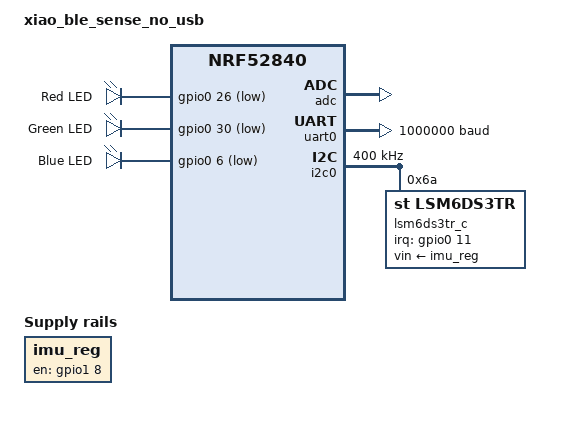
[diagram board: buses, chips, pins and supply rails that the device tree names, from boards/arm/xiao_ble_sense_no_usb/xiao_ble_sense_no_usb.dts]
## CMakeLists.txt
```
# SPDX-License-Identifier: Apache-2.0

cmake_minimum_required(VERSION 3.20.0)
find_package(Zephyr REQUIRED HINTS $ENV{ZEPHYR_BASE})

project(cycling_power_meter)


add_subdirectory(drivers)
zephyr_include_directories(drivers)


target_sources(app PRIVATE
  src/main.c
  src/cps.c
  src/calibration_settings.c
  src/custom_ble_service.c
  src/battery_meas.c
)
```

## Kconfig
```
rsource "drivers/Kconfig"

menu "Zephyr Kernel"
source "Kconfig.zephyr"
endmenu
```

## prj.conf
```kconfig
# Increased stack due to settings API usage

# General Peripheral Configuration
CONFIG_LED=y
# Logging Settings
CONFIG_LOG=y
CONFIG_CONSOLE=n
CONFIG_USE_SEGGER_RTT=y
CONFIG_LOG_BACKEND_RTT=y
CONFIG_LOG_DEFAULT_LEVEL=3
CONFIG_CBPRINTF_FP_SUPPORT=y
CONFIG_LOG_BUFFER_SIZE=8192
CONFIG_SEGGER_RTT_BUFFER_SIZE_UP=8192
CONFIG_LOG_BLOCK_IN_THREAD=n
CONFIG_SERIAL=n
CONFIG_SEGGER_RTT_PRINTF_BUFFER_SIZE=8192
CONFIG_LOG_BACKEND_UART=n
# console output on RTT
CONFIG_RTT_CONSOLE=n
CONFIG_LOG_MODE_DEFERRED=y
# CONFIG_DEBUG=y
# CONFIG_SHELL=y
# CONFIG_SHELL_BACKENDS=y
# CONFIG_SHELL_BACKEND_RTT=y
# CONFIG_I2C_SHELL=y
# CONFIG_I2C_LOG_LEVEL_DBG=y
# 
CONFIG_FPU=y
CONFIG_PM=y
CONFIG_PM_DEVICE=y
CONFIG_SENSOR=y
CONFIG_I2C=y
CONFIG_GPIO=y
CONFIG_HX711=y
CONFIG_REBOOT=y
CONFIG_REGULATOR=y
CONFIG_ADC=y
CONFIG_ADC_ASYNC=y
CONFIG_ADC_NRFX_SAADC=y

CONFIG_CLOCK_CONTROL_NRF_K32SRC_RC=y
CONFIG_CLOCK_CONTROL_NRF_K32SRC_XTAL=y

CONFIG_LSM6DS3TR=y
CONFIG_LSM6DS3TR_ACCEL_FS=16
CONFIG_LSM6DS3TR_GYRO_FS=2000
CONFIG_LSM6DS3TR_ACCEL_ODR=4
CONFIG_LSM6DS3TR_GYRO_ODR=4
CONFIG_LSM6DS3TR_TRIGGER_GLOBAL_THREAD=y

# DSP Library
CONFIG_CMSIS_DSP=y


# Settings/Flash configuration
CONFIG_SETTINGS=y
CONFIG_FLASH=y
CONFIG_FLASH_PAGE_LAYOUT=y
CONFIG_FLASH_MAP=y
CONFIG_STREAM_FLASH=y
CONFIG_NVS=y
CONFIG_SETTINGS_NVS=y


# Bluetooth Settings
# TODO: timer intervals
CONFIG_BT=y
CONFIG_BT_PERIPHERAL=y
CONFIG_BT_DIS=y
CONFIG_BT_DIS_PNP=n
CONFIG_BT_BAS=y
CONFIG_BT_DEVICE_NAME="PowerMeter - 1More3Labs"
CONFIG_BT_DIS_MANUF="1More3Labs"
CONFIG_BT_DIS_MODEL="LePower"
CONFIG_BT_DIS_HW_REV=y
CONFIG_BT_DIS_HW_REV_STR="0"
CONFIG_BT_DIS_FW_REV=y
CONFIG_BT_DIS_FW_REV_STR="0.0.0"
CONFIG_BT_DEVICE_APPEARANCE=1156
CONFIG_BT_DEVICE_NAME_DYNAMIC=n
# CONFIG_BT_NUS=y
CONFIG_BT_MAX_CONN=2
# CONFIG_BT_PERIPHERAL_PREF_MIN_INT=8
# CONFIG_BT_PERIPHERAL_PREF_MAX_INT=1/2
CONFIG_BT_GAP_AUTO_UPDATE_CONN_PARAMS=y

# DFU
CONFIG_SECURE_BOOT=y
CONFIG_ZCBOR=y
CONFIG_MCUMGR=y
CONFIG_BOOTLOADER_MCUBOOT=y
CONFIG_BT_SMP=y
CONFIG_MCUMGR_TRANSPORT_BT=y
CONFIG_MCUMGR_TRANSPORT_BT_AUTHEN=n
CONFIG_BT_L2CAP_TX_MTU=252
CONFIG_BT_BUF_ACL_RX_SIZE=256
CONFIG_SYSTEM_WORKQUEUE_STACK_SIZE=4096
CONFIG_MCUMGR_GRP_OS=y
CONFIG_IMG_MANAGER=y
CONFIG_MCUMGR_TRANSPORT_BT_REASSEMBLY=y
CONFIG_MCUMGR_GRP_IMG=y


# Required by the `taskstat` command.
CONFIG_THREAD_MONITOR=y
CONFIG_THREAD_RUNTIME_STATS=y
CONFIG_THREAD_ANALYZER=y
CONFIG_THREAD_ANALYZER_AUTO=y
CONFIG_THREAD_NAME=y
CONFIG_THREAD_ANALYZER_USE_PRINTK=y
# Enable statistics and statistic names.
CONFIG_STATS=y
CONFIG_STATS_NAMES=y
```

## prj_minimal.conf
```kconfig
# Increased stack due to settings API usage

# General Peripheral Configuration
CONFIG_LED=y

# Logging Settings
CONFIG_CONSOLE=n
CONFIG_UART_CONSOLE=n
CONFIG_STDOUT_CONSOLE=n
CONFIG_PRINTK=n
CONFIG_EARLY_CONSOLE=n
CONFIG_LOG=n
CONFIG_USE_SEGGER_RTT=n
CONFIG_RTT_CONSOLE=n
CONFIG_DEBUG=n

# Build
CONFIG_SIZE_OPTIMIZATIONS=y


CONFIG_FPU=y
CONFIG_PM=y
CONFIG_PM_DEVICE=y
CONFIG_SENSOR=y
CONFIG_I2C=y
CONFIG_GPIO=y
CONFIG_HX711=y
CONFIG_REBOOT=y
CONFIG_REGULATOR=y
CONFIG_ADC=y
CONFIG_ADC_ASYNC=y
CONFIG_ADC_NRFX_SAADC=y
# Disable unused peripherals
CONFIG_SPI=n
CONFIG_SERIAL=n
CONFIG_WATCHDOG=n
CONFIG_I2S=n

CONFIG_CLOCK_CONTROL_NRF_K32SRC_RC=y
CONFIG_CLOCK_CONTROL_NRF_K32SRC_XTAL=y

CONFIG_LSM6DS3TR=y
CONFIG_LSM6DS3TR_ACCEL_FS=16
CONFIG_LSM6DS3TR_GYRO_FS=2000
CONFIG_LSM6DS3TR_ACCEL_ODR=4
CONFIG_LSM6DS3TR_GYRO_ODR=4
CONFIG_LSM6DS3TR_TRIGGER_GLOBAL_THREAD=y


# Boot
CONFIG_BOOT_BANNER=n
CONFIG_BOOT_DELAY=0

# Disable features not needed
CONFIG_TIMESLICING=n
CONFIG_MINIMAL_LIBC_MALLOC=n
CONFIG_ASSERT=n

# DSP Library
CONFIG_CMSIS_DSP=y


# Settings/Flash configuration
CONFIG_SETTINGS=y
CONFIG_FLASH=y
CONFIG_FLASH_PAGE_LAYOUT=y
CONFIG_FLASH_MAP=y
CONFIG_STREAM_FLASH=y
CONFIG_NVS=y
CONFIG_SETTINGS_NVS=y


# Bluetooth Settings
# TODO: timer intervals
# Disable Bluetooth features not needed
CONFIG_BT_DEBUG_NONE=y
CONFIG_BT_DEBUG_LOG=n
CONFIG_BT_ASSERT=n
CONFIG_BT_GATT_CACHING=n
CONFIG_BT_HCI_VS_EXT=n

CONFIG_BT=y
CONFIG_BT_PERIPHERAL=y
CONFIG_BT_DIS=y
CONFIG_BT_DIS_PNP=n
CONFIG_BT_BAS=y
CONFIG_BT_DEVICE_NAME="PowerMeter - 1More3Labs"
CONFIG_BT_DIS_MANUF="1More3Labs"
CONFIG_BT_DIS_MODEL="LePower"
CONFIG_BT_DIS_HW_REV=y
CONFIG_BT_DIS_HW_REV_STR="0"
CONFIG_BT_DIS_FW_REV=y
CONFIG_BT_DIS_FW_REV_STR="0.0.0"
CONFIG_BT_DEVICE_APPEARANCE=1156
CONFIG_BT_DEVICE_NAME_DYNAMIC=n
CONFIG_BT_MAX_CONN=2

CONFIG_BT_GAP_AUTO_UPDATE_CONN_PARAMS=y

# DFU
CONFIG_SECURE_BOOT=y
CONFIG_ZCBOR=y
CONFIG_MCUMGR=y
CONFIG_BOOTLOADER_MCUBOOT=y
CONFIG_BT_SMP=y
CONFIG_MCUMGR_TRANSPORT_BT=y
CONFIG_MCUMGR_TRANSPORT_BT_AUTHEN=n
CONFIG_BT_L2CAP_TX_MTU=252
CONFIG_BT_BUF_ACL_RX_SIZE=256
CONFIG_SYSTEM_WORKQUEUE_STACK_SIZE=4096
CONFIG_MCUMGR_GRP_OS=y
CONFIG_IMG_MANAGER=y
CONFIG_MCUMGR_TRANSPORT_BT_REASSEMBLY=y
CONFIG_MCUMGR_GRP_IMG=y


# Thread analyze:
#  BT CTLR ECDH        : STACK: unused 144 usage 696 / 840 (82 %); CPU: 0 %
#  BT RX               : STACK: unused 944 usage 528 / 1472 (35 %); CPU: 0 %
#  BT TX               : STACK: unused 976 usage 560 / 1536 (36 %); CPU: 0 %
#  thread_analyzer     : STACK: unused 504 usage 520 / 1024 (50 %); CPU: 0 %
#  mcumgr smp          : STACK: unused 1856 usage 192 / 2048 (9 %); CPU: 0 %
#  sysworkq            : STACK: unused 3536 usage 496 / 4032 (12 %); CPU: 0 %
#  MPSL Work           : STACK: unused 472 usage 488 / 960 (50 %); CPU: 0 %
#  idle                : STACK: unused 220 usage 100 / 320 (31 %); CPU: 98 %
#  main                : STACK: unused 1328 usage 656 / 1984 (33 %); CPU: 0 %
#  ISR0                : STACK: unused 856 usage 1256 / 2112 (59 %)
CONFIG_BT_RX_STACK_SIZE=1024
CONFIG_BT_HCI_TX_STACK_SIZE_WITH_PROMPT=y
CONFIG_BT_HCI_TX_STACK_SIZE=1024
CONFIG_MPSL_WORK_STACK_SIZE=768
CONFIG_MAIN_STACK_SIZE=768
CONFIG_IDLE_STACK_SIZE=256
CONFIG_ISR_STACK_SIZE=1536


# In order to correctly tune the stack sizes for the threads the following
# Configurations can enabled to print the current use:
# CONFIG_THREAD_NAME=y
# CONFIG_THREAD_ANALYZER=y
# CONFIG_THREAD_ANALYZER_AUTO=y
# CONFIG_THREAD_ANALYZER_RUN_UNLOCKED=y
# CONFIG_THREAD_ANALYZER_USE_PRINTK=y
# CONFIG_CONSOLE=y
# CONFIG_RTT_CONSOLE=y
# CONFIG_USE_SEGGER_RTT=y
# CONFIG_PRINTK=y
# CONFIG_LOG=y
# CONFIG_LOG_BACKEND_RTT=y
```

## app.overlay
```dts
/{
	aliases {
		hx711-sensor = &hx711;
	};


	hx711: hx711 {
		compatible = "avia,hx711";
		status     = "okay";
		dout-gpios = <&gpio0 3 (GPIO_ACTIVE_HIGH | GPIO_PULL_UP)>;
		sck-gpios  = <&gpio0 2 (GPIO_ACTIVE_HIGH | GPIO_PULL_UP)>;
		rate-hz    = <0>;
		gain       = <1>;
	};


   vbatt {
      compatible = "voltage-divider";
      io-channels = <&adc 7>;
      output-ohms = <510000>;
      full-ohms   = <(1000000 + 510000)>;
      power-gpios = <&gpio0 14 (GPIO_ACTIVE_LOW | GPIO_OPEN_DRAIN)>;
   };

};
```

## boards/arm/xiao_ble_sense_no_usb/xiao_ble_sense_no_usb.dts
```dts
/dts-v1/;
#include <nordic/nrf52840_qiaa.dtsi>
#include "xiao_ble_sense_no_usb.dtsi"

#include <zephyr/dt-bindings/i2c/i2c.h>
#include <zephyr/dt-bindings/gpio/nordic-nrf-gpio.h>

/ {
	model = "xiao_ble_sense_no_usb";
	compatible = "seed,xiao-ble-sense-no-usb";

	chosen {
		zephyr,console = &uart0;
		zephyr,shell-uart = &uart0;
		zephyr,uart-mcumgr = &uart0;
		zephyr,bt-mon-uart = &uart0;
		zephyr,bt-c2h-uart = &uart0;
		zephyr,sram = &sram0;
		zephyr,flash = &flash0;
		zephyr,code-partition = &slot0_partition;
		zephyr,ieee802154 = &ieee802154;

	};

	leds {
		compatible = "gpio-leds";
		led0: led_0 {
			gpios = <&gpio0 26 GPIO_ACTIVE_LOW>;
			label = "Red LED";
		};
		led1: led_1 {
			gpios = <&gpio0 30 GPIO_ACTIVE_LOW>;
			label = "Green LED";
		};
		led2: led_2 {
			gpios = <&gpio0 6 GPIO_ACTIVE_LOW>;
			label = "Blue LED";
		};
	};

	// pwmleds {
	// 	compatible = "pwm-leds";
	// 	pwm_led0: pwm_led_0 {
	// 		pwms = <&pwm0 0 PWM_MSEC(20) PWM_POLARITY_INVERTED>;
	// 	};
	// };

	/* These aliases are provided for compatibility with samples */
	aliases {
		led0 = &led0;
		led1 = &led1;
		led2 = &led2;
		// pwm-led0 = &pwm_led0;
		bootloader-led0 = &led0;
		mcuboot-led0 = &led0;
		watchdog0 = &wdt0;
		spi-flash0 = &p25q16h;
	};

	imu_reg: lsm6ds3tr-c-en {
		compatible = "regulator-fixed-sync", "regulator-fixed";
		enable-gpios = <&gpio1 8 (NRF_GPIO_DRIVE_S0H1 | GPIO_ACTIVE_HIGH)>;
		regulator-name = "lsm6ds3tr-c-en";
		regulator-boot-on;
		regulator-always-on;
		startup-delay-us = <3000>;
	};
};

&adc {
	status = "okay";
};

&gpiote {
	status = "okay";
};

&gpio0 {
	status = "okay";
};

&gpio1 {
	status = "okay";
};

&uart0 {
	compatible = "nordic,nrf-uarte";
	status = "okay";
	current-speed = <1000000>;
	pinctrl-0 = <&uart0_default>;
	pinctrl-1 = <&uart0_sleep>;
	pinctrl-names = "default", "sleep";
};

&i2c1 {
	compatible = "nordic,nrf-twi";
	/* Cannot be used together with spi1. */
	status = "disabled";
	pinctrl-0 = <&i2c1_default>;
	pinctrl-1 = <&i2c1_sleep>;
	pinctrl-names = "default", "sleep";
};

&i2c0 {
	compatible = "nordic,nrf-twim";
	/* Cannot be used together with spi0. */
	status = "okay";
	pinctrl-0 = <&i2c0_default>;
	pinctrl-1 = <&i2c0_sleep>;
	pinctrl-names = "default", "sleep";
	clock-frequency = <I2C_BITRATE_FAST>;

	lsm6ds3tr_c: lsm6ds3tr-c@6a {
		status = "okay";
		compatible = "st,lsm6ds3tr";
		reg = <0x6a>;
		irq-gpios = <&gpio0 11 GPIO_ACTIVE_HIGH>;
		vin-supply = <&imu_reg>;
	};
};

// &pwm0 {
// 	status = "okay";
// 	pinctrl-0 = <&pwm0_default>;
// 	pinctrl-1 = <&pwm0_sleep>;
// 	pinctrl-names = "default", "sleep";
// };

// &spi2 {
// 	compatible = "nordic,nrf-spi";
// 	status = "okay";
// 	pinctrl-0 = <&spi2_default>;
// 	pinctrl-1 = <&spi2_sleep>;
// 	pinctrl-names = "default", "sleep";
// };

&qspi {
	status = "disabled";
	pinctrl-0 = <&qspi_default>;
	pinctrl-1 = <&qspi_sleep>;
	pinctrl-names = "default", "sleep";
	p25q16h: p25q16h@0 {
		compatible = "nordic,qspi-nor";
		reg = <0>;
		sck-frequency = <104000000>;
		quad-enable-requirements = "S2B1v1";
		jedec-id = [ 85 60 15  ];
		sfdp-bfp = [ e5 20 f1 ff ff ff ff 00 44 eb 08 6b 08 3b 80 bb
					 ee ff ff ff ff ff 00 ff ff ff 00 ff 0c 20 0f 52
					 10 d8 08 81  
		];
		size = <16777216>;
		has-dpd;
		t-enter-dpd = <3000>;
		t-exit-dpd = <8000>;
	};
};

&ieee802154 {
	status = "disabled";
};

&flash0 {
	partitions {
		compatible = "fixed-partitions";
		#address-cells = <1>;
		#size-cells = <1>;

		boot_partition: partition@0 {
			label = "mcuboot";
			reg = <0x00000000 0x0000C000>;
		};
		slot0_partition: partition@c000 {
			label = "image-0";
			reg = <0x0000C000 0x00076000>;
		};
		slot1_partition: partition@82000 {
			label = "image-1";
			reg = <0x00082000 0x00076000>;
		};


		settings_partition: settings_partition@f8000 {
			label = "storage";
			reg = <0x000f8000 0x00008000>;
		};
		
	};
};
```

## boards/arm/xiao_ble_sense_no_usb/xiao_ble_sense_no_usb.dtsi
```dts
#include <zephyr/dt-bindings/gpio/nordic-nrf-gpio.h>

&pinctrl {
	uart0_default: uart0_default {
		group1 {
			psels = <NRF_PSEL(UART_TX, 1, 11)>;
		};
		group2 {
			psels = <NRF_PSEL(UART_RX, 1, 12)>;
			bias-pull-up;
		};
	};

	uart0_sleep: uart0_sleep {
		group1 {
			psels = <NRF_PSEL(UART_TX, 1, 11)>,
					<NRF_PSEL(UART_RX, 1, 12)>;
			low-power-enable;
		};
	};

	i2c0_default: i2c0_default {
		group1 {
			psels = <NRF_PSEL(TWIM_SDA, 0, 7)>,
					<NRF_PSEL(TWIM_SCL, 0, 27)>;
		};
	};

	i2c0_sleep: i2c0_sleep {
		group1 {
			psels = <NRF_PSEL(TWIM_SDA, 0, 7)>,
					<NRF_PSEL(TWIM_SCL, 0, 27)>;
			low-power-enable;
		};
	};

	i2c1_default: i2c1_default {
		group1 {
			psels = <NRF_PSEL(TWIM_SDA, 0, 4)>,
					<NRF_PSEL(TWIM_SCL, 0, 5)>;
		};
	};

	i2c1_sleep: i2c1_sleep {
		group1 {
			psels = <NRF_PSEL(TWIM_SDA, 0, 4)>,
					<NRF_PSEL(TWIM_SCL, 0, 5)>;
			low-power-enable;
		};
	};

	// pwm0_default: pwm0_default {
		//     group1 {
			//         psels = <NRF_PSEL(PWM_OUT0, 0, 17)>;
			//         nordic,invert;
		//     };
	// };

	// pwm0_sleep: pwm0_sleep {
		//     group1 {
			//         psels = <NRF_PSEL(PWM_OUT0, 0, 17)>;
			//         low-power-enable;
		//     };
	// };

	spi2_default: spi2_default {
		group1 {
			psels = <NRF_PSEL(SPIM_SCK, 1, 13)>,
			        <NRF_PSEL(SPIM_MOSI, 1, 15)>,
			        <NRF_PSEL(SPIM_MISO, 1, 14)>;
		};
	};

	spi2_sleep: spi2_sleep {
		group1 {
			psels = <NRF_PSEL(SPIM_SCK, 1, 13)>,
			        <NRF_PSEL(SPIM_MOSI, 1, 15)>,
			        <NRF_PSEL(SPIM_MISO, 1, 14)>;
			low-power-enable;
		};
	};

	spi3_default: spi3_default {
		group1 {
			psels = <NRF_PSEL(SPIM_SCK, 0, 21)>,
			        <NRF_PSEL(SPIM_MOSI, 0, 20)>,
			        <NRF_PSEL(SPIM_MISO, 0, 24)>;
		};
	};

	spi3_sleep: spi3_sleep {
		group1 {
			psels = <NRF_PSEL(SPIM_SCK, 0, 21)>,
			        <NRF_PSEL(SPIM_MOSI, 0, 20)>,
			        <NRF_PSEL(SPIM_MISO, 0, 24)>;
			low-power-enable;
		};
	};

	qspi_default: qspi_default {
		group1 {
			psels = <NRF_PSEL(QSPI_SCK, 0, 21)>,
			        <NRF_PSEL(QSPI_IO0, 0, 20)>,
			        <NRF_PSEL(QSPI_IO1, 0, 24)>,
			        <NRF_PSEL(QSPI_IO2, 0, 22)>,
			        <NRF_PSEL(QSPI_IO3, 0, 23)>,
			        <NRF_PSEL(QSPI_CSN, 0, 25)>;
		};
	};

	qspi_sleep: qspi_sleep {
		group1 {
			psels = <NRF_PSEL(QSPI_SCK, 0, 21)>,
			        <NRF_PSEL(QSPI_IO0, 0, 20)>,
			        <NRF_PSEL(QSPI_IO1, 0, 24)>,
			        <NRF_PSEL(QSPI_IO2, 0, 22)>,
			        <NRF_PSEL(QSPI_IO3, 0, 23)>,
			        <NRF_PSEL(QSPI_CSN, 0, 25)>;
			low-power-enable;
		};
	};
};
```

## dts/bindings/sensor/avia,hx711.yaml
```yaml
# Copyright (c) 2020 George Gkinis
# Copyright (c) 2021 Jan Gnip
# SPDX-License-Identifier: Apache-2.0

description: |
  Avia HX711 sensor

compatible: "avia,hx711"

include: base.yaml

properties:
  sample-fetch-timeout-ms:
    type: int
    required: false
    default: 700
    description: |
      Time until sample-fetch will wait before returning an error.
      Most module implementations have a wake-up time after power up of about 600ms.
      Default set to 700ms to ensure most implementations will work.
      Increase if necessary.

  gain:
    type: int
    required: false
    default: 1
    description: |
      Gain of the sensor. 1 = 128x, 2 = 32x, 3 = 64x.
      Default set to 1(128x) as this is the sensors default setting after power-up.
    enum:
      - 1
      - 2
      - 3

  rate-hz:
    type: int
    required: true
    description: |
      Sensor sample rate. 0 = 10Hz, 1 = 80Hz
      User should provide initial value depending on HW implementation.
      If CONFIG_PM_DEVICE_RUNTIME = y rate will not be higher
      than 2~3Hz due to the long wake-up time needed for HX711.
    enum:
      - 0
      - 1

  dout-gpios:
    type: phandle-array
    required: true
    description: |
      Pin on which sensor data will be read from.

  sck-gpios:
    type: phandle-array
    required: true
    description: |
      Pin on which data fetch triggering occurs.

  rate-gpios:
    type: phandle-array
    required: false
    description: |
      Pin on which sampling rate is chosen.
```

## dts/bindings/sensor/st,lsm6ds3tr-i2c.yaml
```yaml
# Copyright (c) 2017, Linaro Limited
# SPDX-License-Identifier: Apache-2.0

description: STMicroelectronics LSM6DS3TR 6-axis accelerometer and gyrometer

compatible: "st,lsm6ds3tr"

include: [sensor-device.yaml, i2c-device.yaml]

properties:
  irq-gpios:
    # This signal is active high when produced by the sensor
    type: phandle-array
```

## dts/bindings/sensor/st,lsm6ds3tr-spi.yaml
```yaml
# Copyright (c) 2018, Linaro Limited
# SPDX-License-Identifier: Apache-2.0

description: |
    STMicroelectronics LSM6DS3TR 6-axis accelerometer and gyrometer accessed
    through SPI bus

compatible: "st,lsm6ds3tr"

include: [sensor-device.yaml, spi-device.yaml]

properties:
  irq-gpios:
    # This signal is active high when produced by the sensor
    type: phandle-array
```

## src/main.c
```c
/**
 * @file main.c
 * @author Stavros Avramidis (stavros9899@gmail.com)
 * @brief 
 * @version 0.1
 * @date 2023-08-24
 * 
 * @copyright Copyright (c) 2023
 * 
 */

#include "battery_meas.h"
#include "calibration_settings.h"
#include "cps.h"
#include "custom_ble_service.h"

#include <sensor/hx711/hx711.h>

#include <errno.h>
#include <math.h>
#include <stddef.h>
#include <string.h>


// Zephyr
#include <zephyr/device.h>
#include <zephyr/irq.h>
#include <zephyr/kernel.h>
#include <zephyr/pm/device.h>
#include <zephyr/pm/pm.h>
#include <zephyr/settings/settings.h>
#include <zephyr/types.h>

#include <zephyr/bluetooth/bluetooth.h>
#include <zephyr/bluetooth/conn.h>
#include <zephyr/bluetooth/gatt.h>
#include <zephyr/bluetooth/hci.h>
#include <zephyr/bluetooth/services/bas.h>
#include <zephyr/bluetooth/uuid.h>

#include <zephyr/drivers/gpio.h>
#include <zephyr/drivers/regulator.h>
#include <zephyr/drivers/sensor.h>

#include <hal/nrf_gpio.h>
#include <hal/nrf_power.h>

// NCS
#include <bluetooth/services/nus.h>


#include <zephyr/logging/log.h>
LOG_MODULE_REGISTER(main);

#define CRANK_LENTH 0.1725
#define M_PI        3.14159265358979323846


/*
 * Devices
 */
static const struct gpio_dt_spec led_red   = GPIO_DT_SPEC_GET(DT_ALIAS(led0), gpios);
static const struct gpio_dt_spec led_green = GPIO_DT_SPEC_GET(DT_ALIAS(led1), gpios);
static const struct gpio_dt_spec led_blue  = GPIO_DT_SPEC_GET(DT_ALIAS(led2), gpios);

static const struct device* imu_dev = DEVICE_DT_GET_ONE(st_lsm6ds3tr);

static const struct device* hx711_dev = DEVICE_DT_GET_ONE(avia_hx711);

static struct sensor_trigger imu_trig = {
  .type = SENSOR_TRIG_DATA_READY,
  .chan = SENSOR_CHAN_GYRO_XYZ,
};

// Mutex for taking priority over main thread
K_MUTEX_DEFINE(main_thread_mutex);

static struct sensor_value gyro_x, gyro_y, gyro_z;
static int32_t             force;
static double              angular_velocity = 0.0;
static double              pseudo_angle     = 0.0;
static double              tangential_velocity;
static double              power;
static int16_t             power_uint;
static uint32_t            last_rev_time_ticks = 0;
static uint16_t            last_rev_time       = 0;
static uint16_t            crank_revolutions;


static const struct bt_data ad[] = {
  BT_DATA_BYTES(BT_DATA_FLAGS, (BT_LE_AD_GENERAL | BT_LE_AD_NO_BREDR)),
  BT_DATA_BYTES(BT_DATA_UUID16_ALL,
                BT_UUID_16_ENCODE(BT_UUID_CPS_VAL),
                BT_UUID_16_ENCODE(BT_UUID_BAS_VAL),
                BT_UUID_16_ENCODE(BT_UUID_DIS_VAL), ),
};


static void connected(struct bt_conn* conn, uint8_t err)
{
  if (err)
    LOG_ERR("Connection failed (err 0x%02x)\n", err);
  else
    LOG_INF("Connected\n");
}


static void disconnected(struct bt_conn* conn, uint8_t reason)
{
  LOG_INF("Disconnected (reason 0x%02x)\n", reason);
}


BT_CONN_CB_DEFINE(conn_callbacks) = {
  .connected    = connected,
  .disconnected = disconnected,
};


static void bt_ready(void)
{
  int err;

  LOG_INF("Bluetooth initialized\n");

  err = bt_le_adv_start(BT_LE_ADV_CONN_NAME, ad, ARRAY_SIZE(ad), NULL, 0);
  if (err)
  {
    LOG_ERR("Advertising failed to start (err %d)\n", err);
    return;
  }

  LOG_INF("Advertising successfully started\n");
}


static void settings_ready(void)
{
  if (settings_register(&my_conf))
  {
    LOG_ERR("Error registeing my_conf settings");
    return;
  }

  if (settings_load())
  {
    LOG_ERR("Eror loading settings");
    return;
  }

  LOG_INF("IMU Calibration:\n\t\tACCEL: X= %4.6f, Y= %4.6f, Z= %4.6f\n\t\tGYRO:  X= %4.6f, Y= "
          "%4.6f, Z= %4.6f\n",
          imu_cal_values.acc_x,
          imu_cal_values.acc_y,
          imu_cal_values.acc_z,
          imu_cal_values.gyro_x,
          imu_cal_values.gyro_y,
          imu_cal_values.gyro_z);

  LOG_INF("ADC Calibration: Offset %7d, Slope: %lf\n", adc_cal_values.offset, adc_cal_values.slope);
}


static int calibration_routine(void)
{

  int                 err = 0;
  double              x = 0, y = 0, z = 0;
  struct sensor_value gyro_x, gyro_y, gyro_z;

  k_mutex_lock(&main_thread_mutex, K_FOREVER);

  LOG_INF("Starting Calibration Routine");
  LOG_INF("Gyro Calibration ...");

  for (unsigned i = 0; i < 256; i++)
  {
    gpio_pin_set_dt(&led_green, 1);
    sensor_sample_fetch_chan(imu_dev, SENSOR_CHAN_GYRO_XYZ);
    sensor_channel_get(imu_dev, SENSOR_CHAN_GYRO_X, &gyro_x);
    sensor_channel_get(imu_dev, SENSOR_CHAN_GYRO_Y, &gyro_y);
    sensor_channel_get(imu_dev, SENSOR_CHAN_GYRO_Z, &gyro_z);

    x += sensor_value_to_double(&gyro_x);
    y += sensor_value_to_double(&gyro_y);
    z += sensor_value_to_double(&gyro_z);

    k_sleep(K_MSEC(10));
    gpio_pin_set_dt(&led_green, 0);
    k_sleep(K_MSEC(90));
  }

  imu_cal_values.gyro_x = x / 256.0f;
  imu_cal_values.gyro_y = y / 256.0;
  imu_cal_values.gyro_z = z / 256.0;

  gpio_pin_set_dt(&led_green, 1);
  gpio_pin_set_dt(&led_red, 1);

  LOG_INF("Gyro Calibration Avg: X= %4.6f, Y= %4.6f, Z= %4.6f",
          imu_cal_values.gyro_x,
          imu_cal_values.gyro_y,
          imu_cal_values.gyro_z);

  LOG_INF("ADC Calibration...");

  adc_cal_values.offset = avia_hx711_tare(hx711_dev, 100);

  gpio_pin_set_dt(&led_green, 0);
  gpio_pin_set_dt(&led_red, 0);

  LOG_INF("ADC Avg: %7d", adc_cal_values.offset);


  // Save settings to Flash
  settings_save_one("calibration/imu", &imu_cal_values, sizeof(imu_cal_values));
  settings_save_one("calibration/adc", &adc_cal_values, sizeof(adc_cal_values));

  // TODO: Save ADC settings

  k_mutex_unlock(&main_thread_mutex);

  return err;
}


void imu_data_ready_handler(const struct device* dev, const struct sensor_trigger* trigger)
{
  sensor_sample_fetch_chan(imu_dev, SENSOR_CHAN_GYRO_XYZ);
  sensor_sample_fetch_chan(imu_dev, SENSOR_CHAN_ACCEL_XYZ);

  sensor_channel_get(imu_dev, SENSOR_CHAN_GYRO_Z, &gyro_z);

  angular_velocity = (sensor_value_to_double(&gyro_z) - imu_cal_values.gyro_z);
  angular_velocity = -angular_velocity; // TODO: fix in hardware

  pseudo_angle += round(angular_velocity) / 104.0; // TODO: shouldn't be hardcoded
  if (pseudo_angle > 360.0 || pseudo_angle < -360.0)
  {
    last_rev_time_ticks = k_cycle_get_32();
    crank_revolutions += 1;
    pseudo_angle = fmod(pseudo_angle, 360);
  }

  // LOG_INF("Angle:\t\t %3.3f", pseudo_angle);
}


static void sys_poweroff(void)
{
  LOG_WRN("***** Powering System Off *****");
  (void)irq_lock();

  // Make sure battery pin is disabled
  battery_meas_stop();

  // Put ADC to sleep
  // pm_device_state_set(hx711_dev, PM_DEVICE_ACTION_TURN_OFF, NULL, NULL);
  nrf_gpio_cfg_output(2);
  nrf_gpio_pin_set(2);

  // Enable wake-up interupt
  imu_trig.type = SENSOR_TRIG_MOTION;
  sensor_trigger_set(imu_dev, &imu_trig, NULL);

  nrf_gpio_cfg_input(11, NRF_GPIO_PIN_PULLUP);
  nrf_gpio_cfg_sense_set(11, NRF_GPIO_PIN_SENSE_HIGH);

  nrf_power_system_off(NRF_POWER);

  CODE_UNREACHABLE;
}


int main(void)
{
  int err;

  LOG_INF("Starting, build time: " __DATE__ " " __TIME__ "\n");


  // IMU init
  if (device_is_ready(imu_dev) == false)
  {
    LOG_ERR("imu sensor: device not ready.\n");
    return 0;
  }

  // ADC front-end init
  if (device_is_ready(hx711_dev) == false)
  {
    LOG_ERR("HX711 sensor: device not ready.\n");
    return 0;
  }


  // Settings init
  err = settings_subsys_init();
  if (err)
  {
    LOG_ERR("Settings init failed (err %d)", err);
  }
  settings_ready();
  hx711_set_offset(hx711_dev, adc_cal_values.offset);

  // BT init
  err = bt_enable(NULL);
  if (err)
  {
    LOG_ERR("Bluetooth init failed (err %d)", err);
    return 0;
  }
  bt_ready();

  // Calibration routine will be triggered by CPS control point
  // Will prevent xecution of the mian thread
  set_calibration_callback(calibration_routine);

  err = sensor_trigger_set(imu_dev, &imu_trig, imu_data_ready_handler);
  if (err)
  {
    LOG_ERR("Cannot enable IMU trigger");
    return 0;
  }

  LOG_INF("Successful initialisation\n");

  while (1)
  {
    // Race condition with calibration request
    k_mutex_lock(&main_thread_mutex, K_FOREVER);


    // TODO: Auto zero power meter
    err = hx711_read(hx711_dev, &force);
    if (err != 0)
    {
      LOG_ERR("Cannot take measurement: %d  ", err);
      continue;
    };


    force = (double)force / -1767.1;
    // LOG_INF("Force:\t\t%10d", force);

    gpio_pin_set_dt(&led_red, 1);
    gpio_pin_set_dt(&led_blue, 1);

    /*
     * Power calculation
     * v = ω * R
     * P = 2 * F * v   (x2: measuring only left leg so half the power)
     */
    tangential_velocity = round(angular_velocity * M_PI * 100.0 * CRANK_LENTH / 180.0) / 100.0;

    power = 2.0 * force * tangential_velocity;

    power = fabs(power);

    power_uint = (uint16_t)power;

    // LOG_INF("V:\t\t%10.2lf", tangential_velocity);
    // LOG_INF("Power:\t%10.2lf\n", power);

    /*
     * BLE Advertisments
     */
    last_rev_time = (uint16_t)(last_rev_time_ticks / (CONFIG_SYS_CLOCK_TICKS_PER_SEC / 1024u));

    set_power_n_revolution(power_uint, crank_revolutions, last_rev_time);
    // set_power_vector_inst_force((int16_t)force);

    /* Get gyro value */
    // sensor_sample_fetch_chan(imu_dev, SENSOR_CHAN_GYRO_XYZ);
    sensor_channel_get(imu_dev, SENSOR_CHAN_GYRO_X, &gyro_x);
    sensor_channel_get(imu_dev, SENSOR_CHAN_GYRO_Y, &gyro_y);
    advertise_data(force,
                   sensor_value_to_double(&gyro_x) - imu_cal_values.gyro_x,
                   sensor_value_to_double(&gyro_y) - imu_cal_values.gyro_y,
                   angular_velocity,
                   pseudo_angle * 10,
                   tangential_velocity,
                   power_uint);


    gpio_pin_set_dt(&led_red, 0);
    gpio_pin_set_dt(&led_blue, 0);

    k_mutex_unlock(&main_thread_mutex);

    // Turn off system off, if crank hasn't rotated for 5'
    if (k_cycle_get_32() - last_rev_time_ticks > (5UL * 60UL * CONFIG_SYS_CLOCK_TICKS_PER_SEC))
    {
      sys_poweroff();
    }
  }

  return 0;
}
```

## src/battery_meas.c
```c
/**
 * @file battery_meas.c
 * @author Stavros Avramidis (stavros9899@gmail.com)
 * @brief 
 * @version 0.1
 * @date 2023-08-24
 * 
 * @copyright Copyright (c) 2023
 * @copyright (c) 2018-2019 Peter Bigot Consulting, LLC
 * @copyright (c) 2019-2020 Nordic Semiconductor ASA
 * 
 */


#include <math.h>
#include <stdio.h>
#include <stdlib.h>

#include <zephyr/init.h>
#include <zephyr/kernel.h>

#include <zephyr/bluetooth/services/bas.h>
#include <zephyr/drivers/adc.h>
#include <zephyr/drivers/gpio.h>
#include <zephyr/drivers/sensor.h>


#include <zephyr/logging/log.h>
LOG_MODULE_REGISTER(BATTERY, CONFIG_ADC_LOG_LEVEL);


#define VBATT       DT_PATH(vbatt)
#define ZEPHYR_USER DT_PATH(zephyr_user)

#define BATTERY_WORK_INTERVAL 5000UL

#ifdef CONFIG_BOARD_THINGY52_NRF52832
/* This board uses a divider that reduces max voltage to
 * reference voltage (600 mV).
 */
#define BATTERY_ADC_GAIN ADC_GAIN_1
#else
/* Other boards may use dividers that only reduce battery voltage to
 * the maximum supported by the hardware (3.6 V)
 */
#define BATTERY_ADC_GAIN ADC_GAIN_1_6
#endif


struct battery_level_point
{
  /** Remaining life at #lvl_mV. */
  uint8_t lvl_pph;
  /** Battery voltage at #lvl_pph remaining life. */
  uint16_t lvl_mV;
};


struct io_channel_config
{
  uint8_t channel;
};


struct divider_config
{
  struct io_channel_config io_channel;
#if DT_NODE_HAS_PROP(VBATT, power_gpios)
  struct gpio_dt_spec power_gpios;
#endif

/* output_ohm is used as a flag value: if it is nonzero then
 * the battery is measured through a voltage divider;
 * otherwise it is assumed to be directly connected to Vdd.
 */
#if (DT_PROP(VBATT, output_ohms) != 0)
  uint32_t output_ohm;
  uint32_t full_ohm;
#endif
};

static const struct divider_config divider_config = {
#if DT_NODE_HAS_STATUS(VBATT, okay)
	.io_channel = {
		DT_IO_CHANNELS_INPUT(VBATT),
	},
#if DT_NODE_HAS_PROP(VBATT, power_gpios)
	.power_gpios = GPIO_DT_SPEC_GET(VBATT, power_gpios),
#endif
#if (DT_PROP(VBATT, output_ohms) != 0)
	.output_ohm = DT_PROP(VBATT, output_ohms),
	.full_ohm = DT_PROP(VBATT, full_ohms),
#endif

#else  /* /vbatt exists */
	.io_channel = {
		DT_IO_CHANNELS_INPUT(ZEPHYR_USER),
	},
#endif /* /vbatt exists */
};


struct divider_data
{
  const struct device*   adc;
  struct adc_channel_cfg adc_cfg;
  struct adc_sequence    adc_seq;
  int16_t                raw;
};
static struct divider_data divider_data = {
#if DT_NODE_HAS_STATUS(VBATT, okay)
  .adc = DEVICE_DT_GET(DT_IO_CHANNELS_CTLR(VBATT)),
#else
  .adc = DEVICE_DT_GET(DT_IO_CHANNELS_CTLR(ZEPHYR_USER)),
#endif
};


static struct k_work_delayable battery_lvl_read;
static struct k_poll_signal    async_sig = K_POLL_SIGNAL_INITIALIZER(async_sig);
static struct k_poll_event     async_evt =
  K_POLL_EVENT_INITIALIZER(K_POLL_TYPE_SIGNAL, K_POLL_MODE_NOTIFY_ONLY, &async_sig);


static int divider_setup(void)
{
  const struct divider_config*    cfg  = &divider_config;
  const struct io_channel_config* iocp = &cfg->io_channel;
#if DT_NODE_HAS_PROP(VBATT, power_gpios)
  const struct gpio_dt_spec* gcp = &cfg->power_gpios;
#endif
  struct divider_data*    ddp  = &divider_data;
  struct adc_sequence*    asp  = &ddp->adc_seq;
  struct adc_channel_cfg* accp = &ddp->adc_cfg;
  int                     rc;

  if (!device_is_ready(ddp->adc))
  {
    LOG_ERR("ADC device is not ready %s", ddp->adc->name);
    return -ENOENT;
  }

#if DT_NODE_HAS_PROP(VBATT, power_gpios)
  if (!device_is_ready(gcp->port))
  {
    LOG_ERR("%s: device not ready", gcp->port->name);
    return -ENOENT;
  }
  rc = gpio_pin_configure_dt(gcp, GPIO_OUTPUT_INACTIVE);
  if (rc != 0)
  {
    LOG_ERR("Failed to control feed %s.%u: %d", gcp->port->name, gcp->pin, rc);
    return rc;
  }
#endif

  *asp = (struct adc_sequence){
    .channels     = BIT(0),
    .buffer       = &ddp->raw,
    .buffer_size  = sizeof(ddp->raw),
    .oversampling = 8,
    .calibrate    = true,
  };

#ifdef CONFIG_ADC_NRFX_SAADC
  *accp = (struct adc_channel_cfg){
    .gain             = BATTERY_ADC_GAIN,
    .reference        = ADC_REF_INTERNAL,
    .acquisition_time = ADC_ACQ_TIME(ADC_ACQ_TIME_MICROSECONDS, 40),
  };

#if (DT_PROP(VBATT, output_ohms) != 0)
  accp->input_positive = SAADC_CH_PSELP_PSELP_AnalogInput0 + iocp->channel;
#else
  accp->input_positive = SAADC_CH_PSELP_PSELP_VDD;
#endif

  asp->resolution = 14;
#else /* CONFIG_ADC_var */
#error Unsupported ADC
#endif /* CONFIG_ADC_var */

  rc = adc_channel_setup(ddp->adc, accp);
  LOG_INF("Setup AIN%u got %d", iocp->channel, rc);

  return rc;
}

#if DT_NODE_HAS_PROP(VBATT, power_gpios)
static inline int battery_power_pin_enable(const bool enable)
{
  static const struct gpio_dt_spec* gcp = &divider_config.power_gpios;

  return gpio_pin_set_dt(gcp, enable);
}
#endif


static inline uint8_t battery_level_percent(unsigned int batt_mV)
{
  static const struct battery_level_point look_up[] = {
    { 100, 4000 }, { 80, 3850 }, { 50, 3660 }, { 30, 3550 }, { 10, 3225 }, { 5, 3225 }, { 0, 2800 },
  };

  struct battery_level_point const *pa, *pb = look_up;

  if (batt_mV >= pb->lvl_mV)
  {
    /* Measured voltage above highest point, cap at maximum. */
    return pb->lvl_pph;
  }
  /* Go down to the last point at or below the measured voltage. */
  while ((pb->lvl_pph > 0) && (batt_mV < pb->lvl_mV))
  {
    ++pb;
  }
  if (batt_mV < pb->lvl_mV)
  {
    /* Below lowest point, cap at minimum */
    return pb->lvl_pph;
  }

  /* Linear interpolation between below and above points. */
  pa = pb - 1;

  return pb->lvl_pph +
         ((pa->lvl_pph - pb->lvl_pph) * (batt_mV - pb->lvl_mV) / (pa->lvl_mV - pb->lvl_mV));
}


static void battery_sample(struct k_work* work)
{
  int rc = -ENOENT;
  ARG_UNUSED(work);

  struct divider_data*         ddp = &divider_data;
  const struct divider_config* dcp = &divider_config;
  struct adc_sequence*         sp  = &ddp->adc_seq;

#if DT_NODE_HAS_PROP(VBATT, power_gpios)
  battery_power_pin_enable(0);
#endif

  rc = adc_read_async(ddp->adc, sp, &async_sig);
  if (rc == 0)
  {
    rc = k_poll(&async_evt, 1, K_NO_WAIT);
  }

#if DT_NODE_HAS_PROP(VBATT, power_gpios)
  battery_power_pin_enable(1);
#endif

  if (rc)
  {
    LOG_WRN("Battery level poll failed");
    goto exit;
  }


  sp->calibrate = false;
  if (rc == 0)
  {
    int32_t val = ddp->raw;

    adc_raw_to_millivolts(adc_ref_internal(ddp->adc), ddp->adc_cfg.gain, sp->resolution, &val);

#if (DT_PROP(VBATT, output_ohms) != 0)
    rc = val * (uint64_t)dcp->full_ohm / dcp->output_ohm;
    LOG_INF("raw %u ~ %u mV => %d mV", ddp->raw, val, rc);
#else
    rc = val;
    LOG_INF("raw %u ~ %u mV", ddp->raw, val);
#endif
    const uint8_t lvl = battery_level_percent(rc);
    bt_bas_set_battery_level(lvl);

    LOG_INF("Battery lvl(%d mV): %d %%\n", rc, lvl);
  }

exit:
  k_work_reschedule(&battery_lvl_read, K_MSEC(BATTERY_WORK_INTERVAL));
}


static int battery_meas_init(void)
{
  int rc = divider_setup();

  LOG_INF("Battery setup: %d", rc);

  k_work_init_delayable(&battery_lvl_read, battery_sample);
  k_work_reschedule(&battery_lvl_read, K_MSEC(BATTERY_WORK_INTERVAL));

  return rc;
}
SYS_INIT(battery_meas_init, APPLICATION, CONFIG_APPLICATION_INIT_PRIORITY);


void battery_meas_stop(void)
{
  (void)k_work_cancel_delayable(&battery_lvl_read);

#if DT_NODE_HAS_PROP(VBATT, power_gpios)
  battery_power_pin_enable(1);
#endif
}
```

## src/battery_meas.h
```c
/**
 * @file battery_meas.h
 * @author Stavros Avramidis (stavros9899@gmail.com)
 * @brief 
 * @version 0.1
 * @date 2023-08-24
 * 
 * @copyright Copyright (c) 2023
 * 
 */

#pragma once

void battery_meas_stop(void);
```

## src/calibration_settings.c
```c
/**
 * @file calibration_settings.c
 * @author Stavros Avramidis (stavros9899@gmail.com)
 * @brief 
 * @version 0.1
 * @date 2023-08-24
 * 
 * @copyright Copyright (c) 2023
 * 
 */


#include "calibration_settings.h"


static int cal_settings_set(const char* name, size_t len, settings_read_cb read_cb, void* cb_arg)
{
  const char* next;
  int         rc;

  if (settings_name_steq(name, "imu", &next) && !next)
  {
    if (len != sizeof(imu_cal_values))
    {
      return -EINVAL;
    }

    rc = read_cb(cb_arg, &imu_cal_values, sizeof(imu_cal_values));
    if (rc >= 0)
    {
      return 0;
    }

    return rc;
  }

  else if (settings_name_steq(name, "adc", &next) && !next)
  {
    if (len != sizeof(adc_cal_values))
    {
      return -EINVAL;
    }

    rc = read_cb(cb_arg, &adc_cal_values, sizeof(adc_cal_values));
    if (rc >= 0)
    {
      return 0;
    }

    return rc;
  }


  return -ENOENT;
}


struct imu_cal_data imu_cal_values = {
  .acc_x  = 0.0,
  .acc_y  = 0.0,
  .acc_z  = 0.0,
  .gyro_x = 0.0,
  .gyro_y = 0.0,
  .gyro_z = 0.0,

};

struct adc_cal_data adc_cal_values = {
  .slope  = 0.0,
  .offset = 0,
};


struct settings_handler my_conf = {
  .name  = "calibration",
  .h_set = cal_settings_set,
};
```

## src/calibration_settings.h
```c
/**
 * @file calibration_settings.h
 * @author Stavros Avramidis (stavros9899@gmail.com)
 * @brief 
 * @version 0.1
 * @date 2023-08-24
 * 
 * @copyright Copyright (c) 2023
 * 
 */

#pragma once

#include <inttypes.h>

#include <zephyr/kernel.h>
#include <zephyr/settings/settings.h>


struct imu_cal_data
{
  float acc_x, acc_y, acc_z;
  float gyro_x, gyro_y, gyro_z;
};

struct adc_cal_data
{
  double slope;
  int    offset;
};

extern struct imu_cal_data imu_cal_values;
extern struct adc_cal_data adc_cal_values;


extern struct settings_handler my_conf;
```

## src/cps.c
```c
/**
 * @file cps.c
 * @author Stavros Avramidis (stavros9899@gmail.com)
 * @brief 
 * @version 0.1
 * @date 2023-08-24
 * 
 * @copyright Copyright (c) 2023
 * 
 */

#include "cps.h"


#include <stdint.h>

#include <zephyr/init.h>
#include <zephyr/kernel.h>
#include <zephyr/sys/byteorder.h>

#include <zephyr/bluetooth/bluetooth.h>
#include <zephyr/bluetooth/conn.h>
#include <zephyr/bluetooth/gatt.h>
#include <zephyr/bluetooth/uuid.h>

#define LOG_LEVEL CONFIG_BT_CPS_LOG_LEVEL
#include <zephyr/logging/log.h>
LOG_MODULE_REGISTER(cps);


struct cps_data
{
  uint32_t features;
  uint32_t power;
  uint32_t crank_revolutions;
  uint8_t  location;
  uint16_t crank_length;

  int (*calibration_callback)(void);
};

static struct cps_data         data;
struct bt_gatt_indicate_params ctrl_ind_params;
static uint8_t                 indicate_buf[16];

static ssize_t read_power_feature(struct bt_conn*            conn,
                                  const struct bt_gatt_attr* attr,
                                  void*                      buf,
                                  uint16_t                   len,
                                  uint16_t                   offset)
{
  return bt_gatt_attr_read(conn, attr, buf, len, offset, &data.features, sizeof(data.features));
}


static ssize_t on_read_sensor_location(struct bt_conn*            conn,
                                       const struct bt_gatt_attr* attr,
                                       void*                      buf,
                                       uint16_t                   len,
                                       uint16_t                   offset)
{
  return bt_gatt_attr_read(conn, attr, buf, len, offset, &data.location, sizeof(data.location));
}


static void cps_measurment_ccc_cfg_changed(const struct bt_gatt_attr* attr, uint16_t value)
{
  ARG_UNUSED(attr);

  bool is_enabled = (value == BT_GATT_CCC_NOTIFY);

  LOG_INF("CTS Measurement Notifications %s", is_enabled ? "enabled" : "disabled");
}

static void cps_power_vector_ccc_cfg_changed(const struct bt_gatt_attr* attr, uint16_t value)
{
  ARG_UNUSED(attr);

  bool is_enabled = (value == BT_GATT_CCC_NOTIFY);

  LOG_INF("CTS Power Vector Notifications %s", is_enabled ? "enabled" : "disabled");
}


static ssize_t on_write_ctrl_point(struct bt_conn*            conn,
                                   const struct bt_gatt_attr* attr,
                                   const void*                buf,
                                   uint16_t                   len,
                                   uint16_t                   offset,
                                   uint8_t                    flags)
{
  const uint8_t* buffer  = (uint8_t*)buf;
  const uint8_t  op_code = buffer[0];

  LOG_INF("Received OpCode %d", op_code);

  indicate_buf[0] = RESPONSE_CODE;
  indicate_buf[1] = op_code;

  switch (op_code)
  {
    case REQUEST_CRANK_LENGTH:
      LOG_INF(" CPS CTRL: Request for crank lenght");

      indicate_buf[2] = SUCCESS;

      sys_put_le16(data.crank_length, &indicate_buf[3]);
      ctrl_ind_params.len = 5;

      bt_gatt_indicate(NULL, &ctrl_ind_params);

      break;

    case START_OFFSET_COMPENSATION:
    case START_ENHANCED_OFFSET_COMPENSATION:
      LOG_INF(" CPS CTRL: Request for Zero Offset Compensation");
      if (data.calibration_callback != NULL)
      {
        int ret = data.calibration_callback();
        ARG_UNUSED(ret);
        indicate_buf[2]     = SUCCESS;
        ctrl_ind_params.len = 3;
        bt_gatt_indicate(NULL, &ctrl_ind_params);

        break;
      }

    default:
      LOG_WRN(" CPS CTRL: Not Supported Op Code: %d", op_code);

      indicate_buf[2]     = OP_CODE_NOT_SUPPORTED;
      ctrl_ind_params.len = 3;
      bt_gatt_indicate(NULL, &ctrl_ind_params);

      break;
  }

  return len;
}


static void cps_ctrl_point_ccc_cfg_changed(const struct bt_gatt_attr* attr, uint16_t value)
{
  ARG_UNUSED(attr);

  bool is_enabled = (value == BT_GATT_CCC_INDICATE);

  LOG_INF("CTS Control Point Indications %s", is_enabled ? "enabled" : "disabled");
}


BT_GATT_SERVICE_DEFINE(
  cps,
  BT_GATT_PRIMARY_SERVICE(BT_UUID_CPS),

  BT_GATT_CHARACTERISTIC(BT_UUID_GATT_CPS_CPF,
                         BT_GATT_CHRC_READ,
                         BT_GATT_PERM_READ,
                         read_power_feature,
                         NULL,
                         NULL),

  BT_GATT_CHARACTERISTIC(BT_UUID_GATT_CPS_CPM,
                         BT_GATT_CHRC_NOTIFY,
                         BT_GATT_PERM_READ,
                         NULL,
                         NULL,
                         NULL),
  BT_GATT_CCC(cps_measurment_ccc_cfg_changed, BT_GATT_PERM_READ | BT_GATT_PERM_WRITE),

  BT_GATT_CHARACTERISTIC(BT_UUID_SENSOR_LOCATION,
                         BT_GATT_CHRC_READ,
                         BT_GATT_PERM_READ,
                         on_read_sensor_location,
                         NULL,
                         NULL),

  BT_GATT_CHARACTERISTIC(BT_UUID_GATT_CPS_CPCP,
                         BT_GATT_CHRC_WRITE | BT_GATT_CHRC_INDICATE,
                         BT_GATT_PERM_WRITE,
                         NULL,
                         on_write_ctrl_point,
                         NULL),
  BT_GATT_CCC(cps_ctrl_point_ccc_cfg_changed, BT_GATT_PERM_READ | BT_GATT_PERM_WRITE),

  BT_GATT_CHARACTERISTIC(BT_UUID_GATT_CPS_CPV,
                         BT_GATT_CHRC_NOTIFY,
                         BT_GATT_PERM_READ,
                         NULL,
                         NULL,
                         NULL),
  BT_GATT_CCC(cps_power_vector_ccc_cfg_changed, BT_GATT_PERM_READ | BT_GATT_PERM_WRITE), );


static int cps_init(void)
{
  data.features = CPS_CPF_CRANK_REVOLUTION_DATA | CPS_CPF_OFFSET_COMPENSATION_INDICATOR |
                  CPS_CPF_ENCHANCED_OFFSET_COMPENSATION;
  data.power             = 0;
  data.crank_revolutions = 0;
  data.location          = LEFT_CRANK;
  data.crank_length      = 345; // 172.5mm * 2

  // Initialize Control Point Indication struct
  ctrl_ind_params.attr    = &cps.attrs[9];
  ctrl_ind_params.func    = NULL;
  ctrl_ind_params.destroy = NULL;
  ctrl_ind_params.data    = &indicate_buf;
  ctrl_ind_params.len     = 0;

  return 0;
}


int set_power_n_revolution(const uint16_t power,
                           const uint16_t revolutions,
                           const uint16_t last_rev_time)
{
  static uint8_t buffer[8] = { (1 << 5) };

  sys_put_le16(power, buffer + 2);
  sys_put_le16(revolutions, buffer + 4);
  sys_put_le16(last_rev_time, buffer + 6);

  return bt_gatt_notify(NULL, &cps.attrs[3], &buffer, sizeof(buffer));
}


int set_power_vector_inst_force(const uint16_t force)
{
  static uint8_t buffer[3] = { (1 << 2), 0, 0 };

  sys_put_le16(force, buffer + 1);

  return bt_gatt_notify(NULL, &cps.attrs[11], &buffer, sizeof(buffer));
}


void set_calibration_callback(int (*calibration_callback)(void))
{
  data.calibration_callback = calibration_callback;
}


SYS_INIT(cps_init, APPLICATION, CONFIG_APPLICATION_INIT_PRIORITY);
```

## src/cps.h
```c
/**
 * @file cps.h
 * @author Stavros Avramidis (stavros9899@gmail.com)
 * @brief 
 * @version 0.1
 * @date 2023-08-24
 * 
 * @copyright Copyright (c) 2023
 * 
 */

#pragma once

#include <stdint.h>

#include <zephyr/bluetooth/uuid.h>

#ifndef BT_UUID_GATT_CPS_CPCP
#define BT_UUID_GATT_CPS_CPCP_VAL 0x2a66
#define BT_UUID_GATT_CPS_CPCP     BT_UUID_DECLARE_16(BT_UUID_GATT_CPS_CPCP_VAL)
#define BT_UUID_GATT_CPS_CPM_VAL  0x2a63
#define BT_UUID_GATT_CPS_CPM      BT_UUID_DECLARE_16(BT_UUID_GATT_CPS_CPM_VAL)
#define BT_UUID_CPS_VAL           0x1818
#define BT_UUID_CPS               BT_UUID_DECLARE_16(BT_UUID_CPS_VAL)
#define BT_UUID_GATT_CPS_CPF_VAL  0x2a65
#define BT_UUID_GATT_CPS_CPF      BT_UUID_DECLARE_16(BT_UUID_GATT_CPS_CPF_VAL)

#endif

#define CRANK_LENGHT_TO_MM(x) (x / 2.0)

#define CPS_CPF_PEDAL_POWER_BALANCE           (1 << 0)
#define CPS_CPF_ACCUMULATED_TORQUE            (1 << 1)
#define CPS_CPF_WHEEL_REVOLUTION_DATA         (1 << 2)
#define CPS_CPF_CRANK_REVOLUTION_DATA         (1 << 3)
#define CPS_CPF_EXTREME_FORCE_MAGNITUDES      (1 << 4)
#define CPS_CPF_EXTREME_TOQUE_MAGNITUDES      (1 << 5)
#define CPS_CPF_EXTREME_ANGLES                (1 << 6)
#define CPS_CPF_TOP_DEAD_SPOT_ANGLE           (1 << 7)
#define CPS_CPF_ACCUMULATED_ENERGY            (1 << 8)
#define CPS_CPF_OFFSET_COMPENSATION_INDICATOR (1 << 9)
#define CPS_CPF_POWER_MEASURMETN_MASKING      (1 << 10)
#define CPS_CPF_MULTIPLE_LOCATIONS_SUPPORTED  (1 << 11)
#define CPS_CPF_CRANK_LENGTH_ADJUSTMENT       (1 << 12)
#define CPS_CPF_CHAIN_LENGTH_ADJUSTMENT       (1 << 13)
#define CPS_CPF_CHAIN_WEIGHT_ADJUSTMENT       (1 << 14)
#define CPS_CPF_SPAN_LENGTH_ADJUSTMENT        (1 << 15)
#define CPS_CPF_SENSOR_MEASURMENT_FORCE       (0 << 16)
#define CPS_CPF_SENSOR_MEASURMENT_TORQUE      (1 << 16)
#define CPS_CPF_INSTANTANEOUS_DIRECTION       (1 << 17)
#define CPS_CPF_FACTORY_CALIBRATION_DATE      (1 << 18)
#define CPS_CPF_ENCHANCED_OFFSET_COMPENSATION (1 << 19)


enum cps_sensor_location
{
  OTHER        = 0,
  TOP_OF_SHOE  = 1,
  IN_SHOE      = 2,
  HIP          = 3,
  FRONT_WHEEL  = 4,
  LEFT_CRANK   = 5,
  RIGHT_CRANK  = 6,
  LEFT_PEDAL   = 7,
  RIGHT_PEDAL  = 8,
  FRONTHUB     = 9,
  REAR_DROPOUT = 10,
  CHAINSTAY    = 11,
  REAR_WHEEL   = 12,
  REAR_HUB     = 13,
  CHEST        = 14,
  SPIDER       = 15,
  CHAINRING    = 16,
};

enum cps_ctrl_opcode
{
  SET_CUMULATIVE_VALUE                                  = 1,
  UPDATE_SENSOR_LOCATION                                = 2,
  REQUEST_SUPPORTED_SENSOR_LOCATIONS                    = 3,
  SET_CRANK_LENGTH                                      = 4,
  REQUEST_CRANK_LENGTH                                  = 5,
  SET_CHAIN_LENGTH                                      = 6,
  REQUEST_CHAIN_LENGTH                                  = 7,
  SET_CHAIN_WEIGHT                                      = 8,
  REQUEST_CHAIN_WEIGHT                                  = 9,
  SET_SPAN_LENGTH                                       = 10,
  REQUEST_SPAN_LENGTH                                   = 11,
  START_OFFSET_COMPENSATION                             = 12,
  MASK_CYCLING_POWER_MEASUREMENT_CHARACTERISTIC_CONTENT = 13,
  REQUEST_SAMPLING_RATE                                 = 14,
  REQUEST_FACTORY_CALIBRATION_DATE                      = 15,
  START_ENHANCED_OFFSET_COMPENSATION                    = 16,
  RESPONSE_CODE                                         = 32,
};


enum cps_ctrl_responce
{
  SUCCESS               = 1,
  OP_CODE_NOT_SUPPORTED = 2,
  INVALID_PARAMTER      = 3,
  OPERATION_FAILED      = 4,
};


/**
 * @brief Set the power n revolution object
 *
 * @param power 
 * @param revolutions 
 * @param rev_time 
 * @return int 
 */
int set_power_n_revolution(const uint16_t power, const uint16_t revolutions, const uint16_t last_rev_time);

/**
 * @brief Set the power vector inst force object
 *
 * @param power force in Newtons
 * @return int
 */
int set_power_vector_inst_force(const uint16_t force);


void set_calibration_callback(int (*calibration_callback)(void));
```

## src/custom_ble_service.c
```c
/**
 * @file custom_ble_service.c
 * @author Stavros Avramidis (stavros9899@gmail.com)
 * @brief 
 * @version 0.1
 * @date 2023-08-24
 * 
 * @copyright Copyright (c) 2023
 * 
 */

#include "custom_ble_service.h"

#include <stdint.h>

#include <zephyr/init.h>
#include <zephyr/kernel.h>
#include <zephyr/sys/byteorder.h>

#include <zephyr/bluetooth/bluetooth.h>
#include <zephyr/bluetooth/conn.h>
#include <zephyr/bluetooth/gatt.h>
#include <zephyr/bluetooth/uuid.h>

#include <zephyr/logging/log.h>
LOG_MODULE_REGISTER(custom_service);

struct custom_service_data
{
  int32_t force;
  float   gyro_x, gyro_y, gyro_z;
  int16_t angle;
  float   tangential_velocity;
  int16_t power;
};

static struct custom_service_data adv_data = {
  .gyro_x = 0.0,
  .gyro_y = 0.0,
  .gyro_z = 0.0,
  .angle  = 0,
};

static unsigned connnected;


BT_GATT_SERVICE_DEFINE(custom_ble_service,
                       BT_GATT_PRIMARY_SERVICE(BT_UUID_CUSTOM_SERV),
                       BT_GATT_CHARACTERISTIC(BT_UUID_CUSTOM_CHRC,
                                              BT_GATT_CHRC_NOTIFY,
                                              BT_GATT_PERM_READ,
                                              NULL,
                                              NULL,
                                              NULL),
                       BT_GATT_CCC(NULL, BT_GATT_PERM_READ | BT_GATT_PERM_WRITE), );

static int custom_service_init(void)
{
  connnected = 0;
  return 0;
}

// bool custom_srvc_is_connected() {
//   return true;
// }

void advertise_data(const int32_t force,
                    const float   gyro_x,
                    const float   gyro_y,
                    const float   gyro_z,
                    const int16_t angle,
                    const float   tangential_velocity,
                    const int16_t power)
{
  adv_data.force               = force;
  adv_data.gyro_x              = gyro_x;
  adv_data.gyro_y              = gyro_y;
  adv_data.gyro_z              = gyro_z;
  adv_data.angle               = angle;
  adv_data.tangential_velocity = tangential_velocity;
  adv_data.power               = power;

  bt_gatt_notify(NULL, &custom_ble_service.attrs[1], &adv_data, sizeof(adv_data));
}

SYS_INIT(custom_service_init, APPLICATION, CONFIG_APPLICATION_INIT_PRIORITY);
```

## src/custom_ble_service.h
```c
/**
 * @file custom_ble_service.h
 * @author Stavros Avramidis (stavros9899@gmail.com)
 * @brief 
 * @version 0.1
 * @date 2023-08-24
 * 
 * @copyright Copyright (c) 2023
 * 
 */

#pragma once

#include <stdint.h>

#include <zephyr/bluetooth/uuid.h>

// 1ef880a7-48fe-4517-8bfa-7063ffb80970


#define BT_UUID_CUSTOM_SERV_VAL                                                                    \
  BT_UUID_128_ENCODE(0x1ef880a7, 0x48fe, 0x4517, 0x8bfa, 0x7063ffb80970)


#define BT_UUID_CUSTOM_CHRC_VAL                                                                    \
  BT_UUID_128_ENCODE(0x1ef880a7, 0x48fe, 0x4517, 0x8bfa, 0x7063ffb80971)


#define BT_UUID_CUSTOM_SERV BT_UUID_DECLARE_128(BT_UUID_CUSTOM_SERV_VAL)
#define BT_UUID_CUSTOM_CHRC BT_UUID_DECLARE_128(BT_UUID_CUSTOM_CHRC_VAL)

// bool custom_srvc_is_connected();

void advertise_data(const int32_t force,
                    const float   gyro_x,
                    const float   gyro_y,
                    const float   gyro_z,
                    const int16_t angle,
                    const float   tangential_velocity,
                    const int16_t power);
```
